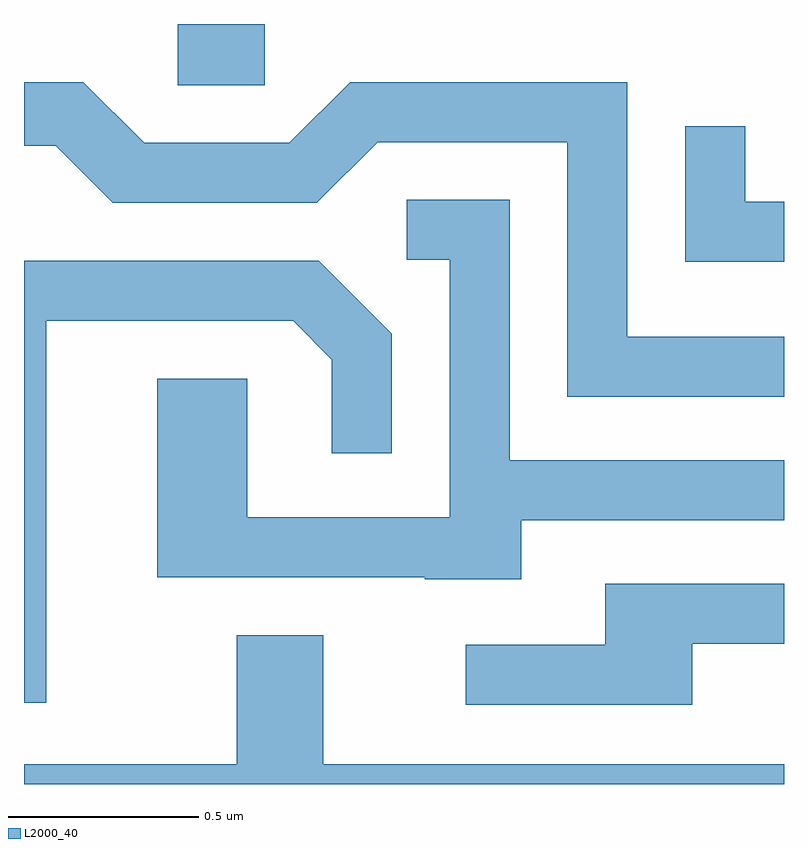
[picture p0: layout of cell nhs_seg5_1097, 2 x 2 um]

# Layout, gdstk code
import gdstk
lib = gdstk.Library(unit=1e-6, precision=1e-09)
def R(c, l, rs):  # rectangles x0, y0, x1, y1
    for r in rs: c.add(gdstk.rectangle(r[:2], r[2:], *l))
def P(c, l, *ps):  # polygons
    for p in ps: c.add(gdstk.Polygon(p, *l))
L2000_40 = (2000, 40)

nhs_seg5_1097 = lib.new_cell('nhs_seg5_1097')
R(nhs_seg5_1097, L2000_40, [(194.016,1398.911,194.244,1399.072)])
P(nhs_seg5_1097, L2000_40, [(195.611,1398.249),(195.199,1398.249),(195.199,1398.919),(194.469,1398.919),(194.309,1398.759),(193.927,1398.759),(193.767,1398.919),(193.611,1398.919),(193.611,1398.751),(193.694,1398.751),(193.844,1398.601),(194.382,1398.601),(194.542,1398.761),(195.041,1398.761),(195.041,1398.091),(195.611,1398.091)],
  [(195.611,1398.604),(195.509,1398.604),(195.509,1398.803),(195.351,1398.803),(195.351,1398.446),(195.611,1398.446)],
  [(194.919,1397.766),(195.611,1397.766),(195.611,1397.924),(194.889,1397.924),(194.889,1398.609),(194.618,1398.609),(194.618,1398.451),(194.731,1398.451),(194.731,1397.774),(194.199,1397.774),(194.199,1398.139),(193.961,1398.139),(193.961,1397.616),(194.665,1397.616),(194.665,1397.611),(194.919,1397.611)],
  [(193.669,1398.291),(194.319,1398.291),(194.421,1398.189),(194.421,1397.943),(194.579,1397.943),(194.579,1398.257),(194.387,1398.449),(193.611,1398.449),(193.611,1397.286),(193.669,1397.286)],
  [(195.369,1397.441),(195.611,1397.441),(195.611,1397.599),(195.141,1397.599),(195.141,1397.439),(194.773,1397.439),(194.773,1397.281),(195.369,1397.281)],
  [(195.611,1397.124),(194.399,1397.124),(194.399,1397.464),(194.171,1397.464),(194.171,1397.124),(193.611,1397.124),(193.611,1397.072),(195.611,1397.072)])

lib.write_gds('nhs_seg5_1097.gds')
